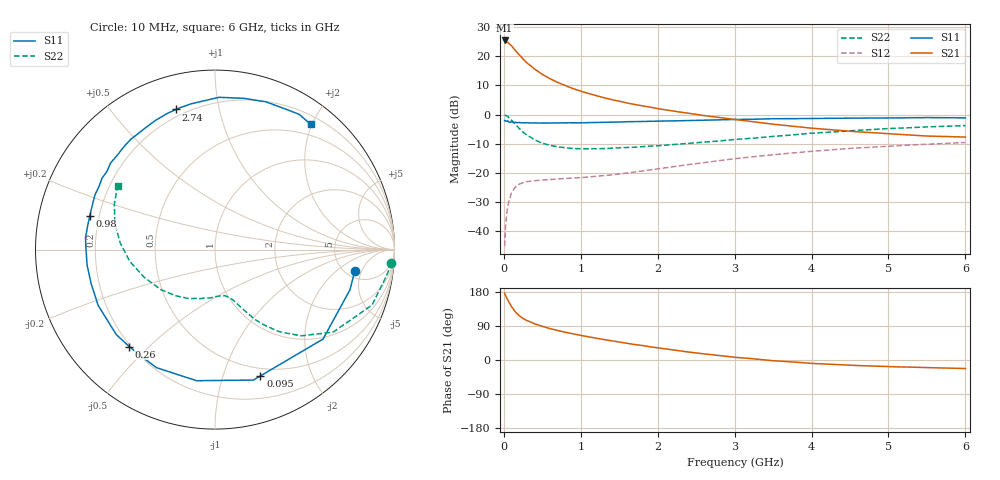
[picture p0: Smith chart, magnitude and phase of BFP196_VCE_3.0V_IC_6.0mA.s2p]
! Infineon Technologies  Discrete & RF Semiconductors
! BFP196
! VCE = 3.0 V,  IC = 6.0mA
! Common Emitter S-Parameters:  Jan 2016
# GHz  S  MA  R  50
!  f  S11  S21  S12  S22
! GHz  MAG  ANG  MAG  ANG  MAG  ANG  MAG  ANG
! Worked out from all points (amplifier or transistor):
!   210 points, 10 MHz to 6 GHz, reference 50 ohm
!   highest |S21| = 25.4 dB at 10 MHz (marker M1)
!   |S21| within 3 dB of that: start of sweep to 135.5 MHz
!   unconditionally stable (mu >= 1): 1.029 GHz to 3.321 GHz
!   at 185 MHz: K = 0.22, MSG = 22.5 dB, |S12| = -24.1 dB
!   at 1.52 GHz: K = 1.19, MAG = 9.8 dB, |S12| = -20.3 dB
!   at 6 GHz: K = 1.00, MSG = 0.9 dB, |S12| = -9.6 dB
!   S11 on the Smith chart (normalised r, x): 10 MHz: 6.09, -3.75; 95 MHz: 0.42, -1.34; 260 MHz: 0.19, -0.44; 980 MHz: 0.16, +0.13; 2.74 GHz: 0.16, +0.75; 6 GHz: 0.32, +1.98
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0.01  0.7882 -8.5  18.53 176.5  0.0056 86.0  0.9847 -4.2
0.02  0.7846 -16.6  18.06 170.8  0.0109 85.0  0.9707 -7.9
0.05  0.7816 -39.6  17.32 158.2  0.0266 70.3  0.9282 -19.4
0.095  0.7479 -70.2  15.21 142.3  0.0439 56.8  0.8126 -33.2
0.1  0.7576 -73.6  15.06 140.3  0.0459 55.9  0.8031 -34.9
0.15  0.7376 -98.0  12.44 126.5  0.0577 44.7  0.6782 -45.1
0.2  0.7342 -116.4  10.56 116.8  0.0645 37.6  0.5772 -52.2
0.24  0.7216 -126.9  9.203 111.0  0.0677 33.7  0.5141 -56.0
0.26  0.7213 -131.5  8.634 108.3  0.0691 32.3  0.4881 -57.7
0.3  0.7257 -139.3  7.668 103.9  0.0714 30.3  0.4462 -60.4
0.4  0.7214 -154.5  6.006 95.4  0.074 26.4  0.3691 -64.7
0.5  0.7157 -164.5  4.867 88.6  0.0757 25.0  0.3231 -67.9
0.7  0.7188 -179.6  3.544 77.6  0.0788 24.7  0.2807 -72.9
0.98  0.722 165.0  2.566 65.8  0.0831 27.7  0.2598 -80.3
1.02  0.7232 163.2  2.469 64.2  0.0837 28.2  0.2592 -81.5
1.4  0.7446 147.8  1.802 50.7  0.0926 33.3  0.2663 -92.3
2.02  0.7734 126.6  1.253 31.6  0.1187 39.4  0.2935 -112.1
2.74  0.8105 105.5  0.912 13.1  0.1593 39.1  0.3482 -135.3
3.1  0.8258 97.1  0.794 5.6  0.1815 36.6  0.3821 -146.6
4.1  0.8593 77.5  0.571 -9.8  0.2404 26.8  0.4877 -174.7
5.1  0.8767 63.0  0.462 -18.0  0.2923 14.6  0.5825 163.4
6  0.8782 52.6  0.412 -22.5  0.3321 3.3  0.6486 146.8
